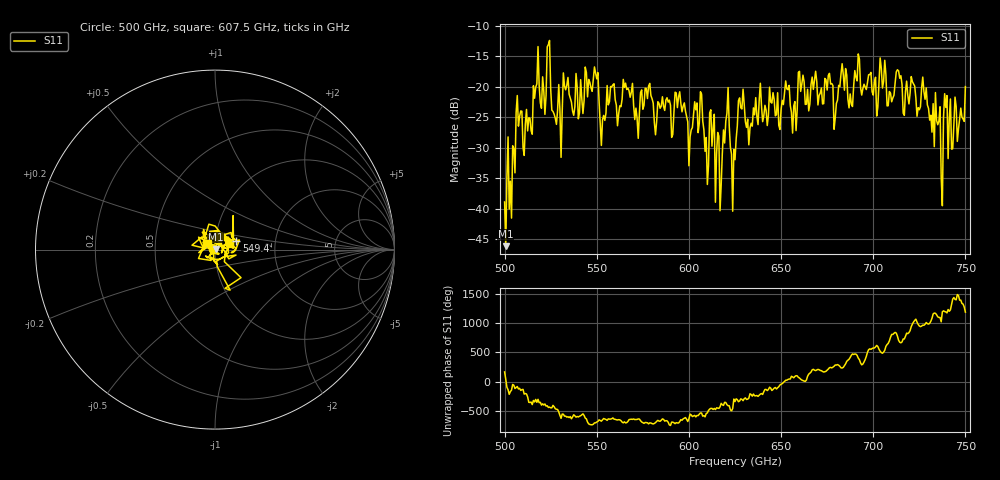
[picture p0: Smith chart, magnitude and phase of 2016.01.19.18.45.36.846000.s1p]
!Created with skrf (http://scikit-rf.org).
# GHz S RI R 50.0
!freq ReS11 ImS11
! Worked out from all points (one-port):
!   401 points, 500 GHz to 750 GHz, reference 50 ohm
!   lowest |S11| = -46.2 dB at 500.6 GHz (marker M1), VSWR 1.01, Z = 50.4 + j0.346 ohm
!   |S11| at or under -10 dB: start of sweep to end of sweep
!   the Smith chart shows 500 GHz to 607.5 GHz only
!   S11 on the Smith chart (normalised r, x): 500 GHz: 0.98, +0.00; 549.4 GHz: 1.26, +0.13; 607.5 GHz: 0.93, +0.07
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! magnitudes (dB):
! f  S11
! 500 GHz  -38.9
! 500.6 GHz  -46.2
! 507.5 GHz  -26.5
! 513.8 GHz  -25.2
! 516.9 GHz  -20.0
! 523.8 GHz  -13.0
! 526.9 GHz  -24.5
! 531.2 GHz  -24.1
! 549.4 GHz  -17.8
! 553.1 GHz  -25.4
! 562.5 GHz  -23.1
! 593.8 GHz  -23.4
! 600.6 GHz  -28.2
! 607.5 GHz  -25.6
! 609.4 GHz  -28.3
! 612.5 GHz  -29.7
! 618.1 GHz  -30.9
! 620.6 GHz  -24.3
! 625 GHz  -32.0
! 628.1 GHz  -23.4
! 656.2 GHz  -27.6
! 660.6 GHz  -20.7
! 687.5 GHz  -21.2
! 691.2 GHz  -19.0
! 718.8 GHz  -21.4
! 727.5 GHz  -20.8
! 736.2 GHz  -23.3
! 750 GHz  -19.9
